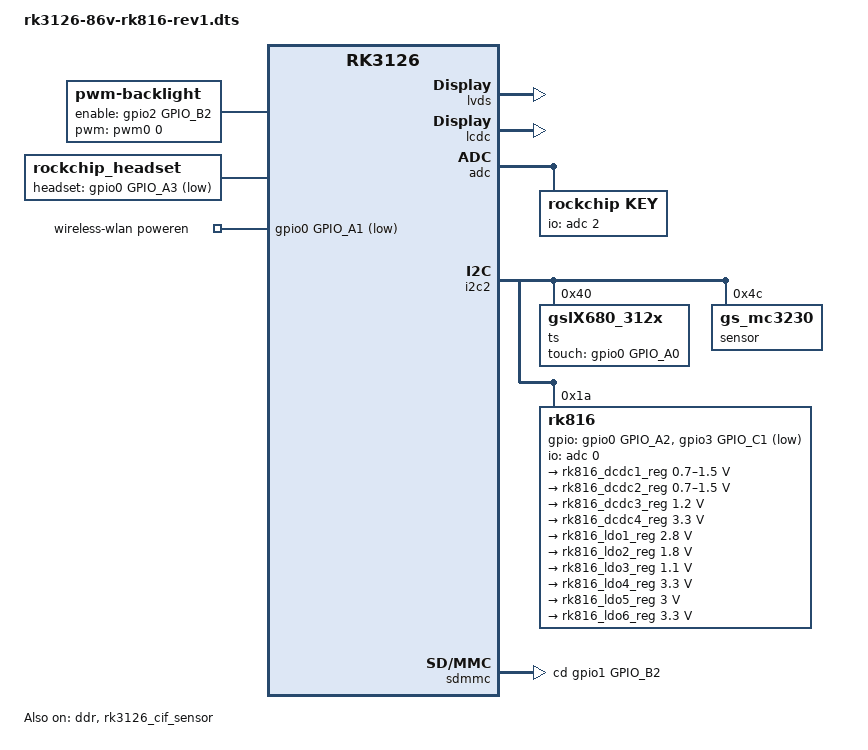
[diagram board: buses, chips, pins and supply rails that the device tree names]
/dts-v1/;

#include "rk3126.dtsi"
#include "lcd-86v-rgb1024x600.dtsi"
#include "rk3126-cif-sensor.dtsi"
#include "rk312x-sdk.dtsi"

/ {
	compatible = "rockchip,rk3126";
	backlight: backlight {
		compatible = "pwm-backlight";
		pwms = <&pwm0 0 25000>;
		brightness-levels = <255 205 205 205 205 205 205 205 205
		205 205 204 203 203 203 201 201 200 199 199 198 197 197
		196 195 195 194 193 193 192 192 191 191 190 189 188 187
		186 185 184 183 182 181 180 179 178 177 176 175 174 173
		172 171 170 169 168 167 166 165 164 163 162 161 160 160
		159 158 157 156 155 155 154 153 152 151 151 150 149 148
		148 147 147 147 146 146 146 146 145 145 145 145 144 144
		144 144 143 143 143 142 142 142 142 141 141 141 140 140
		140 140 139 139 139 138 138 138 138 137 137 137 137 136
		136 136 136 135 135 135 135 134 134 134 134 133 133 133
		133 132 132 132 132 131 131 131 130 130 130 129 129 128
		128 127 127 126 126 125 125 124 124 123 123 122 122 121
		121 120 120 119 119 118 118 117 117 116 116 115 115 114
		114 113 113 112 112 111 111 110 110 109 109 108 108 107
		107 106 106 105 105 104 104 103 103 102 102 101 101 100
		100 100 99 99 98 98 97 96 96 95 95 94 94 93 93 92 92 92
		91 91 90 90 89 89 88 88 87 87 86 86 85 85 84 84 83 83 82
		82 81 81 80 80 79 79 78 78 78 >;

		default-brightness-level = <128>;
		enable-gpios = <&gpio2 GPIO_B2 GPIO_ACTIVE_HIGH>;
	};

	gpio_poweroff {
		compatible = "gpio-poweroff";
		//gpios = <&gpio1 GPIO_A2 GPIO_ACTIVE_LOW>;
	};

	rockchip_headset {
		compatible = "rockchip_headset";
		headset_gpio = <&gpio0 GPIO_A3 GPIO_ACTIVE_LOW>;
	};

	usb_control {
		compatible = "rockchip,rk3126-usb-control";
		//host_drv_gpio = <&gpio2 GPIO_B4 GPIO_ACTIVE_LOW>;
		//otg_drv_gpio = <&gpio2 GPIO_B6 GPIO_ACTIVE_LOW>;

		rockchip,remote_wakeup;
		rockchip,usb_irq_wakeup;
	};

	wireless-wlan {
		compatible = "wlan-platdata";

		/* wifi_chip_type - wifi chip define
		 * ap6210, ap6330, ap6335
		 * rtl8188eu, rtl8723bs, rtl8723bu
		 * esp8089
		 */
		wifi_chip_type = "rtl8188fu";
		sdio_vref = <1800>; //1800mv or 3300mv

		WIFI,poweren_gpio = <&gpio0 GPIO_A1 GPIO_ACTIVE_LOW>;
		status = "okay";
	};

	rockchip_suspend: rockchip_suspend {
		rockchip,ctrbits = <
			(0
			|RKPM_CTR_PWR_DMNS
			|RKPM_CTR_GTCLKS
			|RKPM_CTR_PLLS
			|RKPM_CTR_ARMOFF_LPMD
			|RKPM_CTR_IDLESRAM_MD
			|RKPM_CTR_DDR
			//|RKPM_CTR_VOLTS
			|RKPM_CTR_BUS_IDLE
			//|RKPM_CTR_VOL_PWM1
			)
			>;
		rockchip,pmic-suspend_gpios = <GPIO3_C1>;
	};

	chosen {
		bootargs = "psci=enable vmalloc=496M rockchip_jtag";
	};
};

&ddr {
	status = "okay";
};

&timing0 {
	clock-frequency = <50000000>;
	hback-porch = <16>;
	hfront-porch = <180>;
	vfront-porch = <12>;
};

&vd_arm {
	pd_core {
		clk_core {
			operating-points = <
				/* KHz    uV */
				216000 950000
				408000 950000
				600000 1025000
				696000 1100000
				816000 1150000
				1008000 1275000
				1200000 1450000
				>;
			virt-temp-limit-1-cpu-busy = <
			/* target-temp	limit-freq */
				75	1008000
				85	1200000
				95	1200000
				100	1200000
				>;
			virt-temp-limit-2-cpu-busy = <
			/* target-temp	limit-freq */
				75	912000
				85	1008000
				95	1104000
				100	1200000
				>;
			virt-temp-limit-3-cpu-busy = <
			/* target-temp	limit-freq */
				75	816000
				85	912000
				95	1008000
				100	1104000
				>;
			virt-temp-limit-4-cpu-busy = <
			/* target-temp	limit-freq */
				75	816000
				85	912000
				95	1008000
				100	1104000
				>;
			temp-limit-enable = <1>;
			target-temp = <85>;
			channel = <0>;
			lkg_adjust_volt_en = <1>;
			def_table_lkg = <18>;
			min_adjust_freq = <600000>;
			lkg_adjust_volt_table = <
				/*lkg(mA)  volt(uV)*/
				60         50000
				>;
			status = "okay";
		};
	};
};

&vd_logic {
	pd_ddr {
		clk_ddr {
			operating-points = <
				/* KHz    uV */
				200000 950000
				300000 950000
				400000 1100000
				456000 1200000
				>;

			freq-table = <
				/*status		freq(KHz)*/
				SYS_STATUS_NORMAL	456000
				SYS_STATUS_SUSPEND	200000
				//SYS_STATUS_VIDEO_1080P  240000
				//SYS_STATUS_VIDEO_4K     400000
				SYS_STATUS_PERFORMANCE  456000
				//SYS_STATUS_DUALVIEW	400000
				//SYS_STATUS_BOOST	324000
				//SYS_STATUS_ISP		456000
				>;
			auto-freq-table = <
				240000
				324000
				396000
				//528000
				>;
			auto-freq=<0>;
			channel = <0>;
			lkg_adjust_volt_en = <1>;
			def_table_lkg = <18>;
			min_adjust_freq = <396000>;
			lkg_adjust_volt_table = <
				/*lkg(mA)  volt(uV)*/
				60         50000
				>;
			status = "okay";
		};
	};
	pd_gpu {
		clk_gpu {
			operating-points = <
				/* KHz    uV */
				200000 975000
				300000 1050000
				400000 1150000
				480000 1250000
				>;
				channel = <0>;
				lkg_adjust_volt_en = <1>;
				def_table_lkg = <18>;
				min_adjust_freq = <400000>;
				lkg_adjust_volt_table = <
					/*lkg(mA)  volt(uV)*/
					60         50000
					>;
				status = "okay";
		};
	};
};

&pwm_regulator1 {
	status = "disabled";
};

&pwm1 {
	status = "disabled";
};

&fb {
	rockchip,disp-mode = <NO_DUAL>;
	rockchip,uboot-logo-on = <1>;
};

&rk_screen {
	display-timings = <&disp_timings>;
};

&lvds {
	status = "okay";

	pinctrl-names = "lcdc";
	pinctrl-0 = <&lcdc0_lcdc_d>;
};

&lcdc {
	status = "okay";

	backlight = <&backlight>;
	pinctrl-names = "den", "sync";
	pinctrl-0 = <&lcdc0_den>;
	pinctrl-1 = <&lcdc0_sync>;

	rockchip,fb-win-map = <FB_DEFAULT_ORDER>;
	rockchip,ttl-sync-mode = <TTL_DEN_MODE>;

	power_ctr: power_ctr {
		rockchip,debug = <0>;
		lcd_en: lcd_en {
			rockchip,power_type = <REGULATOR>;
			rockchip,regulator_name = "rk816_ldo6";
			rockchip,regulator_voltage = <0>;
			rockchip,delay = <10>;
			rockchip,ldo_reverse = <1>;
		};
	};
};

&hdmi {
	status = "disabled";
};

&adc {
	status = "okay";

	key: key {
		compatible = "rockchip,key";
		io-channels = <&adc 2>;

		/delete-node/ menu-key;
		/delete-node/ home-key;
		/delete-node/ back-key;
		/delete-node/ power-key;

		vol-up-key {
			linux,code = <115>;
			label = "volume up";
			rockchip,adc_value = <1>;
		};

		vol-down-key {
			linux,code = <114>;
			label = "volume down";
			rockchip,adc_value = <512>;
		};
	};

	adc-battery {
		status = "disabled";
		compatible = "rk30-adc-battery";
	};
};

&i2c0 {
	status = "disabled";
};

&i2c1 {
	status = "disabled";
};

&i2c2 {
	status = "okay";

	rockchip,bus-recovery = <1>;

	ts@40 {
		compatible = "gslX680_312x";
		reg = <0x40>;
		touch-gpio = <&gpio0 GPIO_A0 IRQ_TYPE_LEVEL_LOW>;
		//reset-gpio = <&gpio2 GPIO_C1 GPIO_ACTIVE_LOW>;
		//power-gpio = <&gpio0 GPIO_C5 GPIO_ACTIVE_LOW>;
		max-x = <1024>;
		max-y = <600>;
		pinctrl-names = "default";
		pinctrl-0 = <&gpio0_a0>;
		status = "okay";
	};

	sensor@4c {
		compatible = "gs_mc3230";
		reg = <0x4c>;
		type = <SENSOR_TYPE_ACCEL>;
		//irq-gpio = <&gpio1 GPIO_A0 IRQ_TYPE_LEVEL_LOW>;
		irq_enable = <0>;
		poll_delay_ms = <30>;
		layout = <1>;
		status = "okay";
	};

	rk816: rk816@1a {
		reg = <0x1a>;
		status = "okay";
	};
};

&sdmmc {
	cd-gpios = <&gpio1 GPIO_B2 GPIO_ACTIVE_HIGH>; /* CD GPIO */
	status = "okay";
};

&sdio {
	status = "disabled";
};

&codec {
	hp_ctl_io = <&gpio1 GPIO_A0 GPIO_ACTIVE_HIGH>;
	spk_ctl_io = <&gpio2 GPIO_B1 GPIO_ACTIVE_HIGH>;
	spk-mute-delay = <200>;
	hp-mute-delay = <100>;
	rk312x_for_mid = <1>;
	is_rk3128 = <0>;
	spk_volume = <24>;
	hp_volume = <24>;
	capture_volume = <22>;
	gpio_debug = <0>;
	codec_hp_det = <0>;
};

&dwc_control_usb {
	usb_uart {
		status = "disable";
	};
};

&rk3126_cif_sensor{
	status = "okay";

	gc2145 {
		status = "okay";
	};

	gc0312 {
		status = "okay";
	};
};

&gmac {
	status = "disabled";
};

&rk818 {
	test-power {
		status = "disabled";
	};
};

&uart2 {
	status = "disabled";
};

&pinctrl {
	init-gpios = <&gpio1 GPIO_C1 0>;

	gpio0_gpio {
		gpio0_a0: gpio0-a0 {
			rockchip,pins = <GPIO0_A0>;
			rockchip,pull = <VALUE_PULL_UP>;
		};
	};
};

/include/ "rk816.dtsi"
&rk816 {
	gpios = <&gpio0 GPIO_A2 GPIO_ACTIVE_HIGH>,
			<&gpio3 GPIO_C1 GPIO_ACTIVE_LOW>;
	rk816,system-power-controller;
	rk816,support_dc_chg = <0>;/*1: dc chg; 0:usb chg*/
	io-channels = <&adc 0>;
	gpio-controller;
	#gpio-cells = <2>;
	rtc {
		status = "okay";
	};

	regulators {
		rk816_dcdc1_reg: regulator@0{
			regulator-name= "vdd_arm";
			regulator-min-microvolt = <700000>;
			regulator-max-microvolt = <1500000>;
			regulator-initial-mode = <0x1>;
			regulator-initial-state = <3>;
			regulator-always-on;
			regulator-state-mem {
				regulator-state-mode = <0x2>;
				regulator-state-disabled;
				regulator-state-uv = <900000>;
			};
		};

		rk816_dcdc2_reg: regulator@1 {
			regulator-name= "vdd_logic";
			regulator-min-microvolt = <700000>;
			regulator-max-microvolt = <1500000>;
			regulator-initial-mode = <0x1>;
			regulator-initial-state = <3>;
			regulator-always-on;
			regulator-state-mem {
				regulator-state-mode = <0x2>;
				regulator-state-enabled;
				regulator-state-uv = <1000000>;
			};
		};

		rk816_dcdc3_reg: regulator@2 {
			regulator-name= "rk816_dcdc3";
			regulator-min-microvolt = <1200000>;
			regulator-max-microvolt = <1200000>;
			regulator-initial-mode = <0x2>;
			regulator-initial-state = <3>;
			regulator-always-on;
		};

		rk816_dcdc4_reg: regulator@3 {
			regulator-name= "vccio";
			regulator-min-microvolt = <3300000>;
			regulator-max-microvolt = <3300000>;
			regulator-initial-mode = <0x1>;/*fast mode*/
			regulator-initial-state = <3>;
			regulator-always-on;
			regulator-state-mem {
				regulator-state-mode = <0x2>;
				regulator-state-enabled;
				regulator-state-uv = <3000000>;
			};
		};

		rk816_ldo1_reg: regulator@4 {
			regulator-name= "rk816_ldo1";
			regulator-min-microvolt = <2800000>;
			regulator-max-microvolt = <2800000>;
			regulator-initial-state = <3>;
			regulator-always-on;
			regulator-state-mem {
				regulator-state-disabled;
				regulator-state-uv = <2800000>;
			};
		};

		rk816_ldo2_reg: regulator@5 {
			regulator-name= "rk816_ldo2";
			regulator-min-microvolt = <1800000>;
			regulator-max-microvolt = <1800000>;
			regulator-initial-state = <3>;
			regulator-always-on;
			regulator-state-mem {
				regulator-state-disabled;
				regulator-state-uv = <1800000>;
			};
		};

		rk816_ldo3_reg: regulator@6 {
			regulator-name= "rk816_ldo3";
			regulator-min-microvolt = <1100000>;
			regulator-max-microvolt = <1100000>;
			regulator-initial-state = <3>;
			regulator-always-on;
			regulator-state-mem {
				regulator-state-enabled;
				regulator-state-uv = <1100000>;
			};
		};

		rk816_ldo4_reg:regulator@7 {
			regulator-name= "rk816_ldo4";
			regulator-min-microvolt = <3300000>;
			regulator-max-microvolt = <3300000>;
			regulator-initial-state = <3>;
			regulator-always-on;
			regulator-state-mem {
				regulator-state-disabled;
				regulator-state-uv = <3300000>;
			};
		};

		rk816_ldo5_reg: regulator@8 {
			regulator-name= "rk816_ldo5";
			regulator-min-microvolt = <3000000>;
			regulator-max-microvolt = <3000000>;
			regulator-initial-state = <3>;
			regulator-always-on;
			/delete-property/ regulator-boot-on;
			regulator-state-mem {
				regulator-state-disabled;
				regulator-state-uv = <3000000>;
			};
		};

		rk816_ldo6_reg: regulator@9 {
			regulator-name= "rk816_ldo6";
			regulator-min-microvolt = <3300000>;
			regulator-max-microvolt = <3300000>;
			regulator-initial-state = <3>;
			/delete-property/ regulator-always-on;
			/delete-property/ regulator-boot-on;
			regulator-state-mem {
				regulator-state-enabled;
				regulator-state-uv = <3300000>;
			};
		};
	};

	battery {
			compatible = "rk816-battery";
			ocv_table = < 3400 3654 3686 3710 3744 3775 3803
				3825 3843 3858 3870 3886 3916 3955
				3988 4010 4023 4032 4049 4080 4151>;
			design_capacity = <2000>;
			design_qmax = <2200>;
			bat_res = <120>;
			max_input_current = <2000>;
			max_chrg_current = <1000>;
			max_chrg_voltage = <4200>;
			sleep_enter_current = <300>;
			sleep_exit_current = <300>;
			sleep_filter_current = <100>;
			power_off_thresd = <3500>;
			zero_algorithm_vol = <3800>;
			//max_soc_offset = <60>;
			monitor_sec = <5>;
			virtual_power = <0>;
			power_dc2otg = <0>;
			dc_det_adc = <0>;
		};

	gpio {
		compatible = "rk816-gpio";
	};
};
